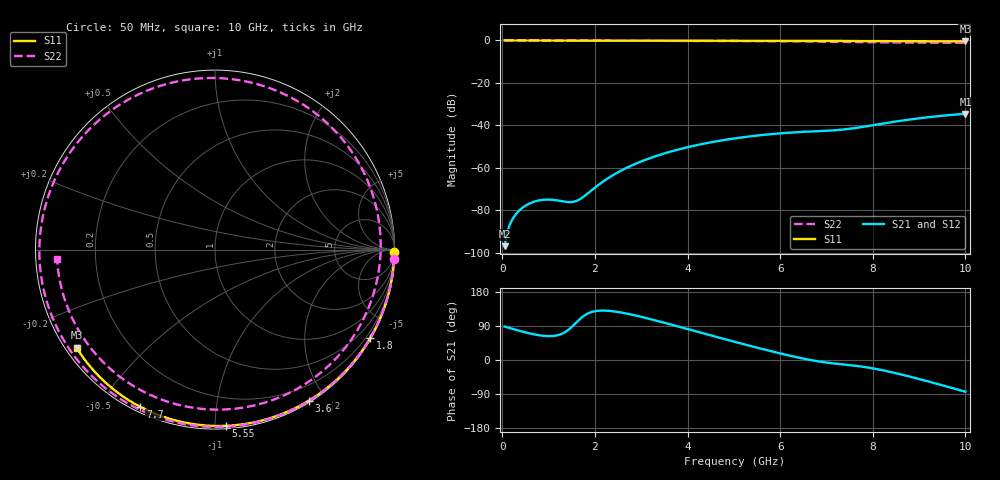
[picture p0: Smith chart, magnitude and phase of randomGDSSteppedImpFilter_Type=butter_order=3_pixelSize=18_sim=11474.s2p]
! freq	dB(S11)	phase(S11)	dB(S12)	phase(S12)
!  dB(S21)	phase(S21)	dB(S22)	phase(S22)
!S-par simulation data
#  GHz  S  DB  R 50
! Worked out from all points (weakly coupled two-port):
!   200 points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, 50 MHz to 10 GHz, reference 50 ohm
!   highest |S21| = -34.57 dB at 10 GHz (marker M1); lowest = -96.9 dB at 50 MHz (marker M2)
!   lowest |S11| = -0.5 dB at 10 GHz (marker M3), VSWR 35.58, Z = 1.55 - j15.9 ohm
!   |S11| at or under -10 dB: nowhere
!   |S22| runs from -1.1 to 0.0 dB; largest |S21 - S12| = 0
!   S11 on the Smith chart (normalised r, x): 50 MHz: open; 1.8 GHz: 0.03, -3.76; 3.6 GHz: 0.02, -1.80; 5.55 GHz: 0.02, -1.06; 7.7 GHz: 0.02, -0.63; 10 GHz: 0.03, -0.32
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0.05  -0.00 -0.8  -96.90 88.3  -96.90 88.3  -0.00 -2.8
0.35  -0.01 -5.9  -80.45 77.7  -80.45 77.7  -0.03 -19.7
0.65  -0.01 -10.9  -76.24 68.6  -76.24 68.6  -0.05 -36.2
0.95  -0.02 -15.9  -74.97 63.2  -74.97 63.2  -0.06 -52.2
1.5  -0.03 -24.9  -76.14 87.4  -76.14 87.4  -0.09 -79.7
1.75  -0.04 -29.0  -73.70 115.5  -73.70 115.5  -0.10 -91.4
1.8  -0.04 -29.8  -72.87 119.5  -72.87 119.5  -0.11 -93.7
2.5  -0.05 -41.0  -62.07 126.7  -62.07 126.7  -0.13 -123.7
3.4  -0.07 -55.0  -53.89 101.5  -53.89 101.5  -0.16 -158.7
3.6  -0.08 -58.1  -52.57 95.0  -52.57 95.0  -0.17 -166.1
4.35  -0.10 -69.3  -48.63 70.0  -48.63 70.0  -0.21 165.7
5.05  -0.12 -79.4  -46.04 46.9  -46.04 46.9  -0.27 137.7
5.55  -0.14 -86.5  -44.68 31.0  -44.68 31.0  -0.32 115.5
6.15  -0.17 -94.8  -43.51 13.1  -43.51 13.1  -0.40 84.8
6.7  -0.20 -102.2  -42.85 -1.0  -42.85 -1.0  -0.51 51.6
7.25  -0.23 -109.5  -42.19 -10.4  -42.19 -10.4  -0.65 13.0
7.7  -0.26 -115.3  -41.00 -16.4  -41.00 -16.4  -0.77 -21.6
8.05  -0.29 -119.9  -39.76 -23.2  -39.76 -23.2  -0.87 -49.0
8.35  -0.32 -123.7  -38.69 -30.7  -38.69 -30.7  -0.95 -71.9
8.75  -0.35 -128.8  -37.40 -42.3  -37.40 -42.3  -1.02 -100.8
9.25  -0.40 -135.2  -36.03 -58.3  -36.03 -58.3  -1.07 -133.6
10  -0.49 -144.7  -34.57 -83.8  -34.57 -83.8  -1.10 -176.6
